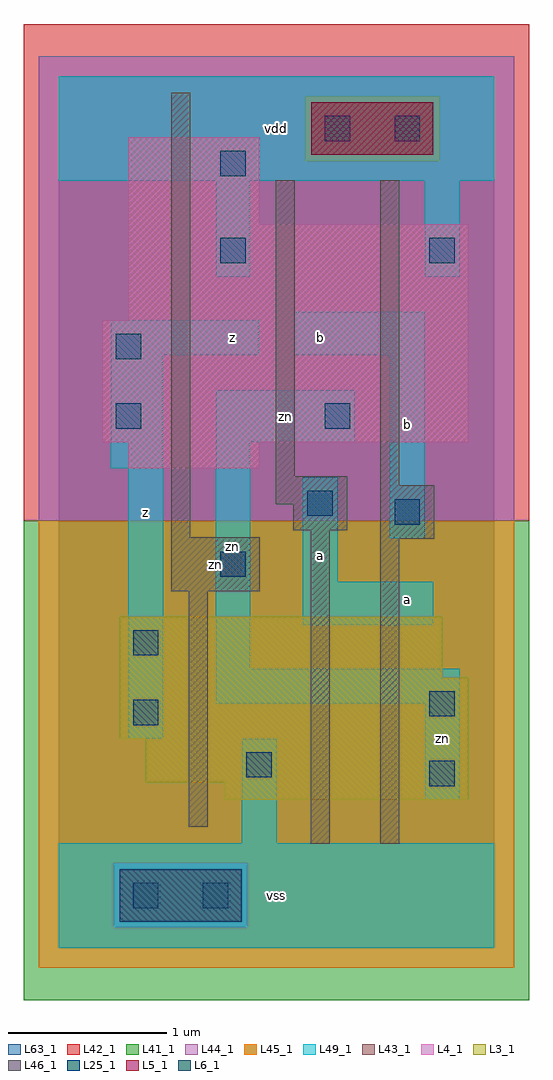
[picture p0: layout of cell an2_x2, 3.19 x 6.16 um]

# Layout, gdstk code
import gdstk
lib = gdstk.Library(unit=1e-6, precision=1e-09)
def R(c, l, rs):  # rectangles x0, y0, x1, y1
    for r in rs: c.add(gdstk.rectangle(r[:2], r[2:], *l))
L3_1 = (3, 1)
L4_1 = (4, 1)
L5_1 = (5, 1)
L6_1 = (6, 1)
L25_1 = (25, 1)
L41_1 = (41, 1)
L42_1 = (42, 1)
L43_1 = (43, 1)
L44_1 = (44, 1)
L45_1 = (45, 1)
L46_1 = (46, 1)
L49_1 = (49, 1)
L63_1 = (63, 1)

an2_x2 = lib.new_cell('an2_x2')
R(an2_x2, L3_1, [(1.045,0.935,2.585,1.045), (0.55,1.045,2.585,1.32), (0.385,1.32,2.585,1.705), (0.385,1.705,2.42,2.09)])
R(an2_x2, L4_1, [(0.44,3.025,1.265,3.19), (0.275,3.19,2.585,3.96), (0.44,3.96,2.585,4.565), (0.44,4.565,1.265,5.115)])
R(an2_x2, L5_1, [(1.595,5.005,2.365,5.335)])
R(an2_x2, L6_1, [(0.385,0.165,1.155,0.495)])
R(an2_x2, L25_1, [(0.47,0.25,0.63,0.41), (0.91,0.25,1.07,0.41), (2.34,1.02,2.5,1.18), (1.185,1.075,1.345,1.235), (0.47,1.405,0.63,1.565), (2.34,1.46,2.5,1.62), (0.47,1.845,0.63,2.005), (1.02,2.34,1.18,2.5), (2.12,2.67,2.28,2.83), (1.57,2.725,1.73,2.885), (0.36,3.275,0.52,3.435), (1.68,3.275,1.84,3.435), (0.36,3.715,0.52,3.875), (1.02,4.32,1.18,4.48), (2.34,4.32,2.5,4.48), (1.02,4.87,1.18,5.03), (1.68,5.09,1.84,5.25), (2.12,5.09,2.28,5.25)])
R(an2_x2, L41_1, [(-0.22,-0.33,2.97,2.695)])
R(an2_x2, L42_1, [(-0.22,2.695,2.97,5.83)])
R(an2_x2, L43_1, [(0.385,0.165,1.155,0.495), (1.045,0.935,2.585,1.045), (0.55,1.045,2.585,1.32), (0.385,1.32,2.585,1.705), (0.385,1.705,2.42,2.09), (0.44,3.025,1.265,3.19), (0.275,3.19,2.585,3.96), (0.44,3.96,2.585,4.565), (0.44,4.565,1.265,5.115), (1.595,5.005,2.365,5.335)])
R(an2_x2, L44_1, [(0.345,0.125,1.195,0.535), (-0.125,2.695,2.875,4.965), (-0.125,4.965,1.555,5.375), (2.405,4.965,2.875,5.375), (-0.125,5.375,2.875,5.625)])
R(an2_x2, L45_1, [(-0.125,-0.125,2.875,0.125), (-0.125,0.125,0.345,0.535), (1.195,0.125,2.875,0.535), (-0.125,0.535,2.875,2.695), (1.555,4.965,2.405,5.375)])
R(an2_x2, L46_1, [(1.59,0.655,1.71,2.635), (2.03,0.655,2.15,2.58), (0.82,0.765,0.94,2.25), (0.71,2.25,1.27,2.59), (2.03,2.58,2.37,2.92), (0.71,2.59,0.83,5.395), (1.48,2.635,1.82,2.8), (1.37,2.8,1.82,2.975), (2.03,2.92,2.15,4.845), (1.37,2.975,1.49,4.845)])
R(an2_x2, L49_1, [(0,0,2.75,0.66), (1.155,0.66,1.375,1.32), (2.31,0.935,2.53,1.54), (0.44,1.32,0.66,3.025), (0.99,1.54,2.53,1.76), (0.99,1.76,1.21,3.19), (1.54,2.035,2.365,2.31), (1.54,2.31,1.76,2.97), (2.09,2.585,2.31,3.74), (0.33,3.025,0.66,3.74), (0.99,3.19,1.87,3.52), (0.33,3.74,1.265,3.96), (1.485,3.74,2.31,4.015), (0.99,4.235,1.21,4.84), (2.31,4.235,2.53,4.84), (0,4.84,2.75,5.5)])
R(an2_x2, L63_1, [(0,0,2.75,5.5)])
an2_x2.add(gdstk.Label('zn', (0.99,2.42), layer=46, texttype=1))
an2_x2.add(gdstk.Label('zn', (1.1,2.53), layer=49, texttype=1))
an2_x2.add(gdstk.Label('z', (0.55,2.75), layer=49, texttype=1))
an2_x2.add(gdstk.Label('z', (0.55,2.75), layer=49, texttype=1))
an2_x2.add(gdstk.Label('z', (1.1,3.85), layer=49, texttype=1))
an2_x2.add(gdstk.Label('z', (1.1,3.85), layer=49, texttype=1))
an2_x2.add(gdstk.Label('vss', (1.375,0.33), layer=49, texttype=1))
an2_x2.add(gdstk.Label('vss', (1.375,0.33), layer=49, texttype=1))
an2_x2.add(gdstk.Label('a', (1.65,2.475), layer=49, texttype=1))
an2_x2.add(gdstk.Label('a', (1.65,2.475), layer=49, texttype=1))
an2_x2.add(gdstk.Label('zn', (1.43,3.355), layer=49, texttype=1))
an2_x2.add(gdstk.Label('b', (1.65,3.85), layer=49, texttype=1))
an2_x2.add(gdstk.Label('b', (1.65,3.85), layer=49, texttype=1))
an2_x2.add(gdstk.Label('vdd', (1.375,5.17), layer=49, texttype=1))
an2_x2.add(gdstk.Label('vdd', (1.375,5.17), layer=49, texttype=1))
an2_x2.add(gdstk.Label('vdd', (1.375,5.17), layer=49, texttype=1))
an2_x2.add(gdstk.Label('vdd', (1.375,5.17), layer=49, texttype=1))
an2_x2.add(gdstk.Label('zn', (2.42,1.32), layer=49, texttype=1))
an2_x2.add(gdstk.Label('a', (2.2,2.2), layer=49, texttype=1))
an2_x2.add(gdstk.Label('a', (2.2,2.2), layer=49, texttype=1))
an2_x2.add(gdstk.Label('b', (2.2,3.3), layer=49, texttype=1))
an2_x2.add(gdstk.Label('b', (2.2,3.3), layer=49, texttype=1))

lib.write_gds('an2_x2.gds')
